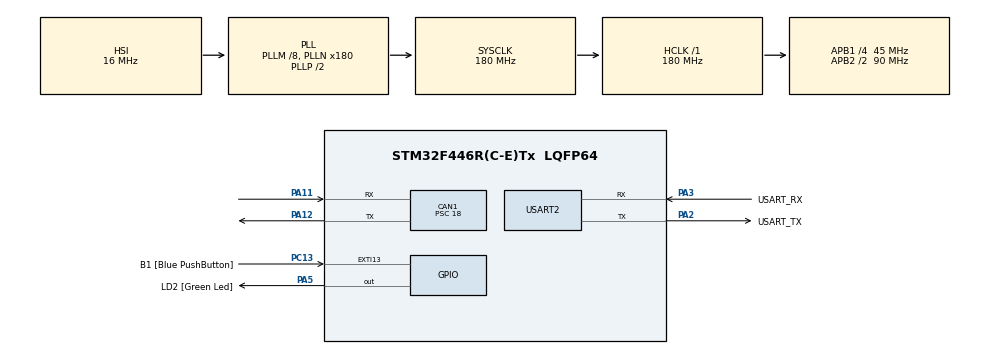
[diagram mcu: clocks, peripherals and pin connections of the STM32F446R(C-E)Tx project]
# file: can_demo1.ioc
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CAN1.BS1=CAN_BS1_3TQ
CAN1.CalculateBaudRate=500000
CAN1.CalculateTimeBit=2000
CAN1.CalculateTimeQuantum=400.0
CAN1.Mode=CAN_MODE_LOOPBACK
CAN1.Prescaler=18
Mcu.Family=STM32F4
Mcu.Name=STM32F446R(C-E)Tx
Mcu.Package=LQFP64
NVIC.CAN1_RX0_IRQn=true\:0\:0\:false\:false\:true\:true\:true\:true
NVIC.CAN1_RX1_IRQn=true\:0\:0\:false\:false\:true\:true\:true\:true
NVIC.PriorityGroup=NVIC_PRIORITYGROUP_0
PA11.Mode=CAN_Activate
PA11.Signal=CAN1_RX
PA12.Mode=CAN_Activate
PA12.Signal=CAN1_TX
PA13.GPIO_Label=TMS
PA13.Mode=Serial_Wire
PA13.Signal=SYS_JTMS-SWDIO
PA14.GPIO_Label=TCK
PA14.Mode=Serial_Wire
PA14.Signal=SYS_JTCK-SWCLK
PA2.GPIO_Label=USART_TX
PA2.Mode=Asynchronous
PA2.Signal=USART2_TX
PA3.GPIO_Label=USART_RX
PA3.Mode=Asynchronous
PA3.Signal=USART2_RX
PA5.GPIO_Label=LD2 [Green Led]
PA5.Signal=GPIO_Output
PB3.GPIO_Label=SWO
PB3.Signal=SYS_JTDO-SWO
PC13.GPIO_Label=B1 [Blue PushButton]
PC13.GPIO_ModeDefaultEXTI=GPIO_MODE_IT_FALLING
PC13.Signal=GPXTI13
PC14-OSC32_IN.Mode=LSE-External-Oscillator
PC14-OSC32_IN.Signal=RCC_OSC32_IN
PC15-OSC32_OUT.Mode=LSE-External-Oscillator
PC15-OSC32_OUT.Signal=RCC_OSC32_OUT
PH0-OSC_IN.Mode=HSE-External-Oscillator
PH0-OSC_IN.Signal=RCC_OSC_IN
PH1-OSC_OUT.Mode=HSE-External-Oscillator
PH1-OSC_OUT.Signal=RCC_OSC_OUT
ProjectManager.HeapSize=0x200
ProjectManager.StackSize=0x400
ProjectManager.TargetToolchain=STM32CubeIDE
RCC.48MHZClocksFreq_Value=84000000
RCC.AHBFreq_Value=180000000
RCC.APB1CLKDivider=RCC_HCLK_DIV4
RCC.APB1Freq_Value=45000000
RCC.APB1TimFreq_Value=90000000
RCC.APB2CLKDivider=RCC_HCLK_DIV2
RCC.APB2Freq_Value=90000000
RCC.APB2TimFreq_Value=180000000
RCC.CortexFreq_Value=180000000
RCC.FLatency-AdvancedSettings=FLASH_LATENCY_5
RCC.HCLKFreq_Value=180000000
RCC.HSE_VALUE=8000000
RCC.HSI_VALUE=16000000
RCC.PLLM=8
RCC.PLLN=180
RCC.SYSCLKFreq_VALUE=180000000
RCC.SYSCLKSource=RCC_SYSCLKSOURCE_PLLCLK
RCC.USBFreq_Value=180000000
RCC.VCOOutputFreq_Value=360000000
USART2.VirtualMode=VM_ASYNC
board=NUCLEO-F446RE

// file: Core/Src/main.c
/* USER CODE BEGIN Header */
/**
  ******************************************************************************
  * @file           : main.c
  * @brief          : Main program body
  ******************************************************************************
  * @attention
  *
  * Copyright (c) 2025 STMicroelectronics.
  * All rights reserved.
  *
  * This software is licensed under terms that can be found in the LICENSE file
  * in the root directory of this software component.
  * If no LICENSE file comes with this software, it is provided AS-IS.
  *
  ******************************************************************************
  */
/* USER CODE END Header */
#include "main.h"
#include "stdio.h"
#include "string.h"

CAN_HandleTypeDef hcan1;

UART_HandleTypeDef huart2;

void SystemClock_Config(void);
static void MX_GPIO_Init(void);
static void MX_CAN1_Init(void);
static void MX_USART2_UART_Init(void);

/* USER CODE BEGIN 0 */
CAN_TxHeaderTypeDef Txheader;
CAN_RxHeaderTypeDef Rxheader;

uint32_t TxMailbox;
uint8_t TxData[8];
uint8_t RxData[8];

uint8_t count=0;

__weak void HAL_CAN_RxFifo0MsgPendingCallback(CAN_HandleTypeDef *hcan ){
	 HAL_CAN_GetRxMessage(&hcan1, CAN_RX_FIFO0, &Rxheader, RxData);

	    // Create a buffer to hold the formatted hex string
	    char hexBuffer[24];  // Adjust the size as needed

	    // Format the received data into a hex string
	    int len = 0;
	    for (int i = 0; i < Rxheader.DLC; i++) {
	        len += sprintf(&hexBuffer[len], "%02X ", RxData[i]);
	    }

	    // Now transmit the hex string over UART
	    HAL_UART_Transmit(&huart2, (uint8_t*)hexBuffer, len, HAL_MAX_DELAY);
}
/* USER CODE END 0 */

int main(void)
{

  /* MCU Configuration--------------------------------------------------------*/

  /* Reset of all peripherals, Initializes the Flash interface and the Systick. */
  HAL_Init();

  /* Configure the system clock */
  SystemClock_Config();

  /* Initialize all configured peripherals */
  MX_GPIO_Init();
  MX_CAN1_Init();
  MX_USART2_UART_Init();
  /* USER CODE BEGIN 2 */
  HAL_CAN_Start(&hcan1);

  HAL_CAN_ActivateNotification(&hcan1,CAN_IT_RX_FIFO0_MSG_PENDING);

  Txheader.DLC=1;
  Txheader.ExtId=0;
  Txheader.IDE=CAN_ID_STD;
  Txheader.RTR=CAN_RTR_DATA;
  Txheader.StdId=0x102;
  Txheader.TransmitGlobalTime=DISABLE;

  TxData[0]=0xf3;

  /* USER CODE END 2 */

  /* Infinite loop */
  while (1)
  {
	  //HAL_UART_Transmit(&huart2, &count, 1, HAL_MAX_DELAY);
	  HAL_CAN_AddTxMessage(&hcan1,&Txheader,TxData,&TxMailbox);
	  HAL_Delay(500);
  }
}

void SystemClock_Config(void)
{
  RCC_OscInitTypeDef RCC_OscInitStruct = {0};
  RCC_ClkInitTypeDef RCC_ClkInitStruct = {0};

  /** Configure the main internal regulator output voltage
  */
  __HAL_RCC_PWR_CLK_ENABLE();
  __HAL_PWR_VOLTAGESCALING_CONFIG(PWR_REGULATOR_VOLTAGE_SCALE1);

  /** Initializes the RCC Oscillators according to the specified parameters
  * in the RCC_OscInitTypeDef structure.
  */
  RCC_OscInitStruct.OscillatorType = RCC_OSCILLATORTYPE_HSI;
  RCC_OscInitStruct.HSIState = RCC_HSI_ON;
  RCC_OscInitStruct.HSICalibrationValue = RCC_HSICALIBRATION_DEFAULT;
  RCC_OscInitStruct.PLL.PLLState = RCC_PLL_ON;
  RCC_OscInitStruct.PLL.PLLSource = RCC_PLLSOURCE_HSI;
  RCC_OscInitStruct.PLL.PLLM = 8;
  RCC_OscInitStruct.PLL.PLLN = 180;
  RCC_OscInitStruct.PLL.PLLP = RCC_PLLP_DIV2;
  RCC_OscInitStruct.PLL.PLLQ = 2;
  RCC_OscInitStruct.PLL.PLLR = 2;
  if (HAL_RCC_OscConfig(&RCC_OscInitStruct) != HAL_OK)
  {
    Error_Handler();
  }

  /** Activate the Over-Drive mode
  */
  if (HAL_PWREx_EnableOverDrive() != HAL_OK)
  {
    Error_Handler();
  }

  /** Initializes the CPU, AHB and APB buses clocks
  */
  RCC_ClkInitStruct.ClockType = RCC_CLOCKTYPE_HCLK|RCC_CLOCKTYPE_SYSCLK
                              |RCC_CLOCKTYPE_PCLK1|RCC_CLOCKTYPE_PCLK2;
  RCC_ClkInitStruct.SYSCLKSource = RCC_SYSCLKSOURCE_PLLCLK;
  RCC_ClkInitStruct.AHBCLKDivider = RCC_SYSCLK_DIV1;
  RCC_ClkInitStruct.APB1CLKDivider = RCC_HCLK_DIV4;
  RCC_ClkInitStruct.APB2CLKDivider = RCC_HCLK_DIV2;

  if (HAL_RCC_ClockConfig(&RCC_ClkInitStruct, FLASH_LATENCY_5) != HAL_OK)
  {
    Error_Handler();
  }
}

static void MX_CAN1_Init(void)
{

  hcan1.Instance = CAN1;
  hcan1.Init.Prescaler = 18;
  hcan1.Init.Mode = CAN_MODE_LOOPBACK;
  hcan1.Init.SyncJumpWidth = CAN_SJW_1TQ;
  hcan1.Init.TimeSeg1 = CAN_BS1_3TQ;
  hcan1.Init.TimeSeg2 = CAN_BS2_1TQ;
  hcan1.Init.TimeTriggeredMode = DISABLE;
  hcan1.Init.AutoBusOff = DISABLE;
  hcan1.Init.AutoWakeUp = DISABLE;
  hcan1.Init.AutoRetransmission = DISABLE;
  hcan1.Init.ReceiveFifoLocked = DISABLE;
  hcan1.Init.TransmitFifoPriority = DISABLE;
  if (HAL_CAN_Init(&hcan1) != HAL_OK)
  {
    Error_Handler();
  }
  /* USER CODE BEGIN CAN1_Init 2 */
  CAN_FilterTypeDef canfilterconfig;
  canfilterconfig.FilterActivation=CAN_FILTER_ENABLE;
  canfilterconfig.FilterBank=10;
  canfilterconfig.FilterFIFOAssignment=CAN_RX_FIFO0;
  canfilterconfig.FilterIdHigh=0x103<<5;
  canfilterconfig.FilterIdLow=0x0000;
  canfilterconfig.FilterMaskIdHigh=0x103<<5;
  canfilterconfig.FilterMaskIdLow=0x0000;
  canfilterconfig.FilterMode=CAN_FILTERMODE_IDMASK;
  canfilterconfig.FilterScale=CAN_FILTERSCALE_32BIT;
  canfilterconfig.SlaveStartFilterBank=0;

  HAL_CAN_ConfigFilter(&hcan1,&canfilterconfig);

  /* USER CODE END CAN1_Init 2 */

}

static void MX_USART2_UART_Init(void)
{

  huart2.Instance = USART2;
  huart2.Init.BaudRate = 115200;
  huart2.Init.WordLength = UART_WORDLENGTH_8B;
  huart2.Init.StopBits = UART_STOPBITS_1;
  huart2.Init.Parity = UART_PARITY_NONE;
  huart2.Init.Mode = UART_MODE_TX_RX;
  huart2.Init.HwFlowCtl = UART_HWCONTROL_NONE;
  huart2.Init.OverSampling = UART_OVERSAMPLING_16;
  if (HAL_UART_Init(&huart2) != HAL_OK)
  {
    Error_Handler();
  }

}

static void MX_GPIO_Init(void)
{
  GPIO_InitTypeDef GPIO_InitStruct = {0};

  /* GPIO Ports Clock Enable */
  __HAL_RCC_GPIOC_CLK_ENABLE();
  __HAL_RCC_GPIOH_CLK_ENABLE();
  __HAL_RCC_GPIOA_CLK_ENABLE();
  __HAL_RCC_GPIOB_CLK_ENABLE();

  /*Configure GPIO pin Output Level */
  HAL_GPIO_WritePin(LD2_GPIO_Port, LD2_Pin, GPIO_PIN_RESET);

  /*Configure GPIO pin : B1_Pin */
  GPIO_InitStruct.Pin = B1_Pin;
  GPIO_InitStruct.Mode = GPIO_MODE_IT_FALLING;
  GPIO_InitStruct.Pull = GPIO_NOPULL;
  HAL_GPIO_Init(B1_GPIO_Port, &GPIO_InitStruct);

  /*Configure GPIO pin : LD2_Pin */
  GPIO_InitStruct.Pin = LD2_Pin;
  GPIO_InitStruct.Mode = GPIO_MODE_OUTPUT_PP;
  GPIO_InitStruct.Pull = GPIO_NOPULL;
  GPIO_InitStruct.Speed = GPIO_SPEED_FREQ_LOW;
  HAL_GPIO_Init(LD2_GPIO_Port, &GPIO_InitStruct);

}

void Error_Handler(void)
{
  __disable_irq();
  while (1)
  {
  }
}
